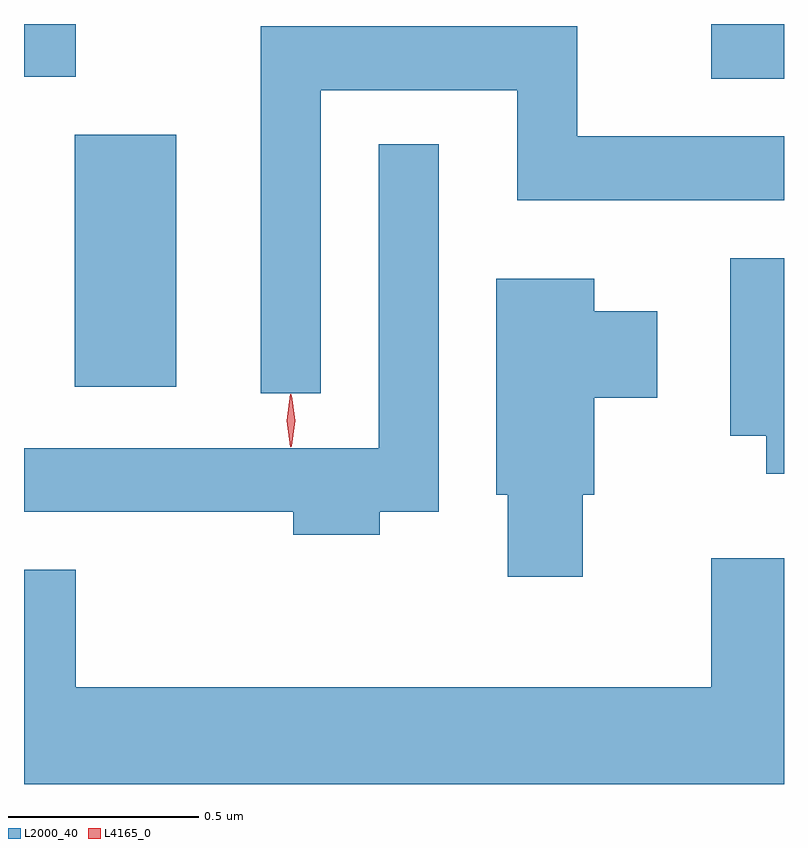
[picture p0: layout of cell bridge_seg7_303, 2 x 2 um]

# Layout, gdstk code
import gdstk
lib = gdstk.Library(unit=1e-6, precision=1e-09)
def R(c, l, rs):  # rectangles x0, y0, x1, y1
    for r in rs: c.add(gdstk.rectangle(r[:2], r[2:], *l))
def P(c, l, *ps):  # polygons
    for p in ps: c.add(gdstk.Polygon(p, *l))
L2000_40 = (2000, 40)
L4165_0 = (4165, 0)

bridge_seg7_303 = lib.new_cell('bridge_seg7_303')
R(bridge_seg7_303, L2000_40, [(1338.586,1793.076,1338.854,1793.739), (1340.261,1793.886,1340.453,1794.03), (1338.453,1793.891,1338.589,1794.03)])
P(bridge_seg7_303, L2000_40, [(1339.234,1793.856),(1339.751,1793.856),(1339.751,1793.566),(1340.453,1793.566),(1340.453,1793.734),(1339.909,1793.734),(1339.909,1794.024),(1339.076,1794.024),(1339.076,1793.058),(1339.234,1793.058)],
  [(1339.389,1792.746),(1339.544,1792.746),(1339.544,1793.713),(1339.386,1793.713),(1339.386,1792.914),(1338.453,1792.914),(1338.453,1792.746),(1339.161,1792.746),(1339.161,1792.686),(1339.389,1792.686)],
  [(1340.453,1793.414),(1340.311,1793.414),(1340.311,1792.946),(1340.406,1792.946),(1340.406,1792.846),(1340.453,1792.846)],
  [(1339.924,1792.791),(1339.954,1792.791),(1339.954,1793.046),(1340.119,1793.046),(1340.119,1793.274),(1339.954,1793.274),(1339.954,1793.359),(1339.696,1793.359),(1339.696,1792.791),(1339.726,1792.791),(1339.726,1792.576),(1339.924,1792.576)],
  [(1340.453,1792.624),(1340.261,1792.624),(1340.261,1792.284),(1338.589,1792.284),(1338.589,1792.594),(1338.453,1792.594),(1338.453,1792.03),(1340.453,1792.03)])
P(bridge_seg7_303, L4165_0, [(1339.154,1792.917),(1339.145,1792.986),(1339.154,1793.056),(1339.155,1793.056),(1339.156,1793.056),(1339.165,1792.986),(1339.156,1792.917),(1339.155,1792.917)],
  [(1339.157,1792.919),(1339.156,1792.92),(1339.147,1792.986),(1339.156,1793.052),(1339.156,1793.053),(1339.157,1793.052),(1339.167,1792.986),(1339.157,1792.92)])

lib.write_gds('bridge_seg7_303.gds')
